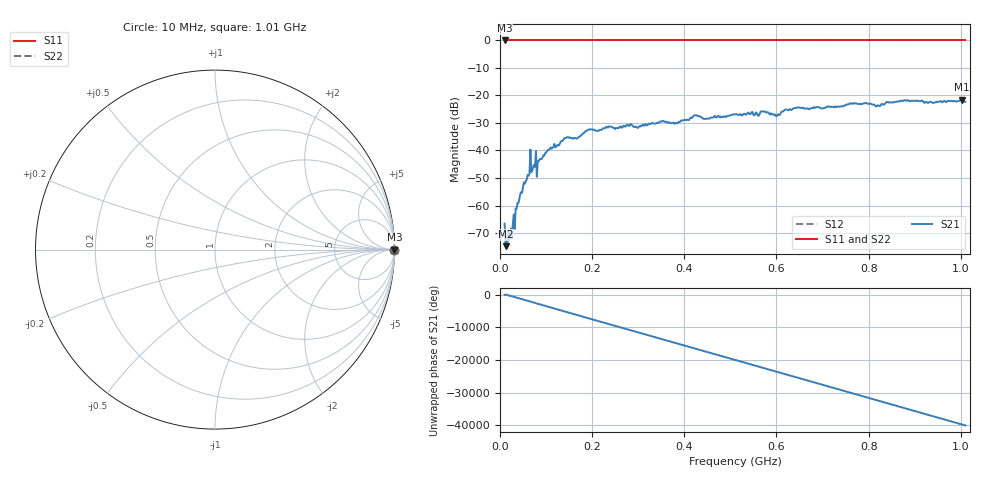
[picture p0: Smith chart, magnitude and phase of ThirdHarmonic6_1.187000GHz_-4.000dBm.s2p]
! 8/16/2025 12:10:02 PM
! C:\ANRITSUVNA\TEMP\TEMP.S2P
! CHANNEL.1
! TR.MEASUREMENT
! RAW.DATA
! RF.CORRECTION.OFF
! AVERAGING.OFF
! IF.BANDWIDTH: 5KHZ
! SWEEPTYPE:  FREQ.SWEEP(Linear)
! Reference Plane Port Info
! PORT:  PORT1  PORT2
! DISTANCE:  0  m  0  m
! TIME:  0  s  0  s
! PHASE.OFFSET:  0  deg.  0  deg.
! LOSS:  0  dB  0  dB
! REF.LOSS:  0  dB  0  dB
! REF.FREQ:  0  Hz  0  Hz
! Power Info
! POWER:  -20  dBm  -20  dBm
! EFF.POWER:  -20  dBm  -20  dBm
! SOURCE.ATTEN:  0  dB  0  dB
! TEST.ATTEN:  0  dB  0  dB
# GHZ S RI R 50.0
! FREQ.GHZ  S11RE  S11IM  S21RE  S21IM  S12RE  S12IM  S22RE  S22IM
!; PortSelection: Port_12
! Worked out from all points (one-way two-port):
!   501 points, 10 MHz to 1.01 GHz, reference 50 ohm
!   highest |S21| = -21.58 dB at 1.002 GHz (marker M1); lowest = -74.8 dB at 12 MHz (marker M2)
!   lowest |S11| = 0.0 dB at 10 MHz (marker M3)
!   |S11| at or under -10 dB: nowhere
!   |S22| runs from 0.0 to 0.0 dB; largest |S21 - S12| = 1.1
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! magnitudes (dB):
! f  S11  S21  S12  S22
! 10 MHz  0.0  -66.6  0.0  0.0
! 12 MHz  0.0  -74.8  0.0  0.0
! 16 MHz  0.0  -73.3  0.0  0.0
! 24 MHz  0.0  -68.4  0.0  0.0
! 42 MHz  0.0  -57.7  0.0  0.0
! 60 MHz  0.0  -48.8  0.0  0.0
! 62 MHz  0.0  -49.2  0.0  0.0
! 70 MHz  0.0  -47.3  0.0  0.0
! 72 MHz  0.0  -45.9  0.0  0.0
! 106 MHz  0.0  -39.8  0.0  0.0
! 142 MHz  0.0  -35.6  0.0  0.0
! 178 MHz  0.0  -34.1  0.0  0.0
! 196 MHz  0.0  -32.3  0.0  0.0
! 344 MHz  0.0  -30.0  0.0  0.0
! 510 MHz  0.0  -26.9  0.0  0.0
! 570 MHz  0.0  -25.8  0.0  0.0
! 602 MHz  0.0  -27.1  0.0  0.0
! 620 MHz  0.0  -25.1  0.0  0.0
! 678 MHz  0.0  -24.5  0.0  0.0
! 844 MHz  0.0  -22.6  0.0  0.0
! 1.002 GHz  0.0  -21.6  0.0  0.0
! 1.01 GHz  0.0  -22.3  0.0  0.0
